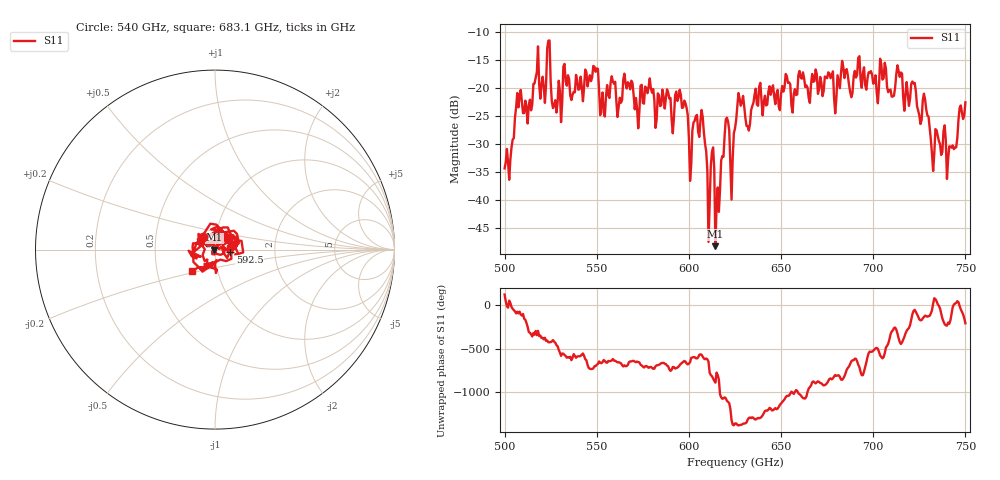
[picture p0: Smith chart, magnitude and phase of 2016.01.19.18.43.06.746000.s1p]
!Created with skrf (http://scikit-rf.org).
# GHz S RI R 50.0
!freq ReS11 ImS11
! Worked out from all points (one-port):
!   401 points, 500 GHz to 750 GHz, reference 50 ohm
!   lowest |S11| = -48.2 dB at 614.4 GHz (marker M1), VSWR 1.01, Z = 49.6 - j0.0747 ohm
!   |S11| at or under -10 dB: start of sweep to end of sweep
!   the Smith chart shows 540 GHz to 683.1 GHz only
!   S11 on the Smith chart (normalised r, x): 540 GHz: 0.87, +0.13; 592.5 GHz: 1.19, -0.03; 683.1 GHz: 0.75, -0.19
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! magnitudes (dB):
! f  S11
! 500 GHz  -34.3
! 507.5 GHz  -23.4
! 513.8 GHz  -22.0
! 516.9 GHz  -18.1
! 531.2 GHz  -22.5
! 540 GHz  -20.3
! 562.5 GHz  -21.7
! 565.6 GHz  -19.1
! 571.9 GHz  -23.6
! 592.5 GHz  -21.3
! 593.8 GHz  -22.3
! 601.2 GHz  -33.6
! 607.5 GHz  -25.2
! 610 GHz  -34.7
! 614.4 GHz  -48.2
! 615.6 GHz  -37.7
! 620.6 GHz  -25.3
! 623.1 GHz  -39.9
! 625 GHz  -27.2
! 628.1 GHz  -23.1
! 631.9 GHz  -26.8
! 637.5 GHz  -23.1
! 656.2 GHz  -24.3
! 683.1 GHz  -15.1
! 687.5 GHz  -20.7
! 718.8 GHz  -20.9
! 741.2 GHz  -30.4
! 750 GHz  -22.5
